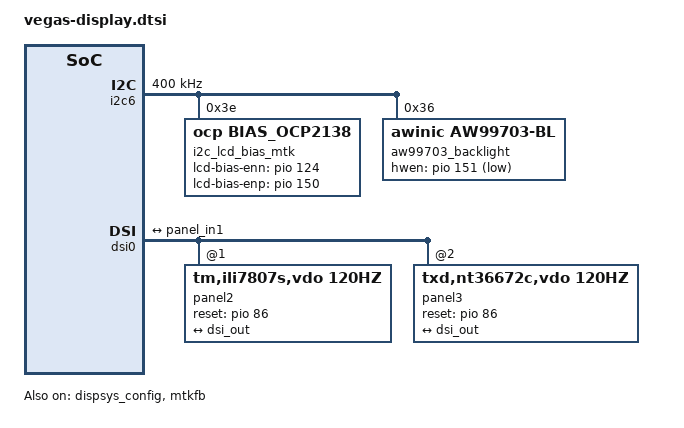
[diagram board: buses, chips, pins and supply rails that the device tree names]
/* Copyright (c) 2024, Motorola Mobility Inc. All rights reserved.
 *
 * This program is free software; you can redistribute it and/or modify
 * it under the terms of the GNU General Public License version 2 and
 * only version 2 as published by the Free Software Foundation.
 *
 * This program is distributed in the hope that it will be useful,
 * but WITHOUT ANY WARRANTY; without even the implied warranty of
 * MERCHANTABILITY or FITNESS FOR A PARTICULAR PURPOSE.  See the
 * GNU General Public License for more details.
 */

&dispsys_config {
	force_dyn_mipi_change;
};

&i2c6 {
	id = <6>;
	clock-frequency = <400000>;
	i2c_lcd_bias_mtk:i2c_lcd_bias@3e {
		compatible = "ocp,bias_ocp2138";
		reg = <0x3e>;
		ocp,lcd-bias-enn-gpio = <&pio 124 0>;
		ocp,lcd-bias-enp-gpio = <&pio 150 0>;
		biasp_en_pin = <150>;
		biasn_en_pin = <124>;
		status = "okay";
	};

	aw99703_backlight: sprd_backlight@36{
		compatible = "awinic,aw99703-bl","ktd,ktd3136";
		reg = <0x36>;
		id = <6>;
		lk_hwen-gpio = <151>;
		status = "okay";

		aw99703,hwen-gpio = <&pio 151 1>;
		aw99703,bl-map = <3>; /* brightness map level 1:256,2:1024,3:2048 */
		aw99703,using-lsb;
		aw99703,ovp-level = <3>; /* 0:17.5V, 1:24V, 2:31V, 3:38V, 4:41.5V */
		aw99703,ocp-level = <2>; /* 0:0.9A, 1:1.8A, 2:2.7A, 3:3.4A */
		aw99703,switch-freq = <1>; /* 1000kHz(default) */
		aw99703,auto-freq-high = <0x10>;
		aw99703,auto-freq-low = <0x05>;
		aw99703,bl-fscal-led = <0x1A>; /* 25.6mA */
		aw99703,bl-channel = <3>;
		aw99703,turn-on-ramp = <0x00>; /* 512us */
		aw99703,turn-off-ramp = <0x04>; /* 8ms */
		aw99703,pwm-trans-dim = <0>; /* 2ms */
		aw99703,i2c-trans-dim = <1>; /* 128ms */
		aw99703,skip-first-trans;
		aw99703,reset-trans-delay;
		aw99703,pwm-mode = <1>; /* 1 pwm enable,0 PWM disable */
		aw99703,map-type = <0>; /* 0 exponential, 4 linear */
		aw99703,current-align-type = <0x02>;
		aw99703,work-mode = <1>; /* backlight */
		aw99703,default-brightness = <512>;
		aw99703,init-seq-enable = <1>;
		aw99703,init-seq = <0x02 0x00>,
				<0x03 0xD7>,
				<0x04 0x2E>,
				<0x09 0x00>,
				<0x05 0x50>,
				<0x06 0x06>,
				<0x07 0xC3>,
				<0x67 0x1C>,
				<0x25 0x61>,
				<0x24 0x4C>,
				<0x23 0x61>,
				<0x02 0x01>;

                ktd,hwen-gpio = <&pio 151 1>;
                ktd,using-lsb;
                ktd,pwm-frequency = <1>; /* 1MHZ */
                ktd,bl-fscal-led = <0xD1>; /* 25.8mA */
                ktd,turn-on-ramp = <0x00>;
                ktd,turn-off-ramp = <0x04>;
                ktd,pwm-trans-dim = <0>;
                ktd,i2c-trans-dim = <128>;
                ktd,skip-first-trans;
                ktd,reset-trans-delay;
                ktd,bl-channel = <3>;
                ktd,ovp-level = <32>;  /*25.9v or 32v */
                ktd,ocp-level = <2600>;
                ktd,switching-frequency = <1>;
                ktd,inductor-current = <1>;
                ktd,default-brightness = <512>;
                ktd,map-type = <0>; /* 0 exponential, 1 linear */
                ktd,current-align-type = <0x03>;
                ktd3136,init-seq-enable = <1>;
                ktd3136,init-seq = <0x02 0xD1>,
				<0x03 0x28>,
				<0x06 0x1F>,
				<0x04 0x05>,
				<0x05 0xC3>,
				<0x07 0x03>,
				<0x08 0x71>;

	};
};

&mtk_leds {
	/delete-property/ compatible;
	/delete-property/ led_mode;
	/delete-property/ gate_enable;
	/delete-property/ pwm_config;

	compatible = "mediatek,i2c-leds";

	backlight {
		label = "lcd-backlight";
		led_mode = <6>;
		max-brightness = <2047>;
		max-hw-brightness = <2047>;
		default-brightness = <512>;
		lk-default-brightness = <1566>;
	};
};

&pio {
	mtkfb_pins_lcm_bl_en: lcm_bl_en_gpio {
		pins_cmd_dat {
			pinmux = <PINMUX_GPIO151__FUNC_GPIO151>;
			slew-rate = <1>;
			output-low;
		};
	};

	mtkfb_pins_lcm_bias_enn: lcm_bias_enn_gpio {
		pins_cmd_dat {
			pinmux = <PINMUX_GPIO124__FUNC_GPIO124>;
			slew-rate = <1>;
			output-low;
		};
	};
	mtkfb_pins_lcm_bias_enp: lcm_bias_enp_gpio {
		pins_cmd_dat {
			pinmux = <PINMUX_GPIO150__FUNC_GPIO150>;
			slew-rate = <1>;
			output-low;
		};
	};

	mtkfb_pins_lcm_rst_out1_gpio: lcm_rst_out1_gpio {
		pins_cmd_dat {
			pinmux = <PINMUX_GPIO86__FUNC_GPIO86>;
			slew-rate = <1>;
			output-high;
		};
	};

	mtkfb_pins_lcm_rst_out0_gpio: lcm_rst_out0_gpio {
		pins_cmd_dat {
			pinmux = <PINMUX_GPIO86__FUNC_GPIO86>;
			slew-rate = <1>;
			output-low;
		};
	};

	mtkfb_pins_lcm_dsi_te: lcm_dsi_te {
		pins_cmd_dat {
			pinmux = <PINMUX_GPIO85__FUNC_DSI_TE>;
		};
	};
};

&mtkfb {
	pinctrl-names = "lcm_bl_en_gpio", "lcm_bias_enn_gpio","lcm_bias_enp_gpio",
		"lcm_rst_out1_gpio", "lcm_rst_out0_gpio",
		"mode_te_te";
	pinctrl-0 = <&mtkfb_pins_lcm_bl_en>;
	pinctrl-1 = <&mtkfb_pins_lcm_bias_enn>;
	pinctrl-2 = <&mtkfb_pins_lcm_bias_enp>;
	pinctrl-3 = <&mtkfb_pins_lcm_rst_out1_gpio>;
	pinctrl-4 = <&mtkfb_pins_lcm_rst_out0_gpio>;
	pinctrl-5 = <&mtkfb_pins_lcm_dsi_te>;
	status = "okay";
};

&dispsys_config {
	pinctrl-names = "lcm_bl_en_gpio", "lcm_bias_enn_gpio","lcm_bias_enp_gpio",
		"lcm_rst_out1_gpio", "lcm_rst_out0_gpio",
		"mode_te_te";
	pinctrl-0 = <&mtkfb_pins_lcm_bl_en>;
	pinctrl-1 = <&mtkfb_pins_lcm_bias_enn>;
	pinctrl-2 = <&mtkfb_pins_lcm_bias_enp>;
	pinctrl-3 = <&mtkfb_pins_lcm_rst_out1_gpio>;
	pinctrl-4 = <&mtkfb_pins_lcm_rst_out0_gpio>;
	pinctrl-5 = <&mtkfb_pins_lcm_dsi_te>;
	status = "okay";
};

&dsi0 {
	status = "okay";
	#address-cells = <1>;
	#size-cells = <0>;
	panel1@0 {
		/delete-property/ compatible;
		/delete-property/ pm-enable-gpios;
		/delete-property/ reset-gpios;
		/delete-property/gate-ic;

		compatible = "mot,dummy,vdo,60hz";
		reg = <0>;
		pinctrl-names = "default";
		port {
			panel_in1: endpoint {
				remote-endpoint = <&dsi_out>;
			};
		};

	};

	panel2@0 {
		compatible = "tm,ili7807s,vdo,120hz";
		reg = <1>;
		reset-gpios = <&pio 86 0>;
		//bias_n-gpios = <&pio 124 0>;
		//bias_p-gpios = <&pio 150 0>;
		pinctrl-names = "default";
		port {
			panel_in2: endpoint {
				remote-endpoint = <&dsi_out>;
			};
		};
	};

	panel3@0 {
		compatible = "txd,nt36672c,vdo,120hz";
		reg = <2>;
		reset-gpios = <&pio 86 0>;
		//bias_n-gpios = <&pio 124 0>;
		//bias_p-gpios = <&pio 150 0>;
		pinctrl-names = "default";
		port {
			panel_in3: endpoint {
				remote-endpoint = <&dsi_out>;
			};
		};
	};

	ports {
		port {
			dsi_out: endpoint {
				remote-endpoint = <&panel_in1>;
			};
		};
	};
};
